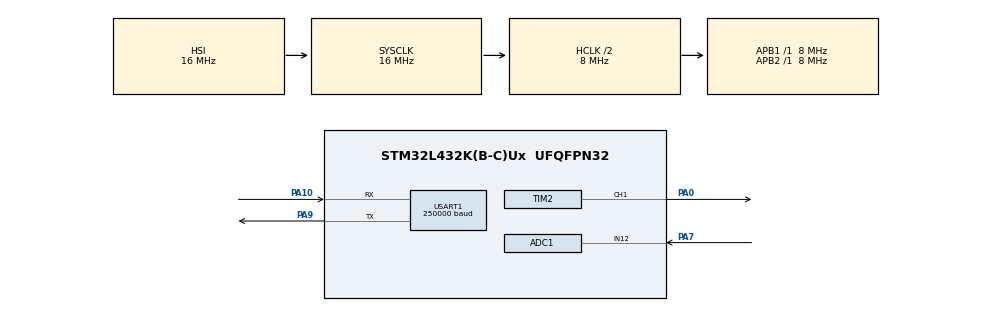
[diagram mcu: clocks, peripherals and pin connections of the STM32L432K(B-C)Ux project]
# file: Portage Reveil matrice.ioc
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ADC1.Channel-0\#ChannelRegularConversion=ADC_CHANNEL_12
ADC1.ContinuousConvMode=ENABLE
ADC1.NbrOfConversion=1
ADC1.NbrOfConversionFlag=1
ADC1.OffsetNumber-0\#ChannelRegularConversion=ADC_OFFSET_NONE
ADC1.Rank-0\#ChannelRegularConversion=1
ADC1.SamplingTime-0\#ChannelRegularConversion=ADC_SAMPLETIME_2CYCLES_5
ADC1.master=1
Dma.ADC1.1.Direction=DMA_PERIPH_TO_MEMORY
Dma.ADC1.1.Instance=DMA1_Channel1
Dma.ADC1.1.MemDataAlignment=DMA_MDATAALIGN_HALFWORD
Dma.ADC1.1.MemInc=DMA_MINC_ENABLE
Dma.ADC1.1.Mode=DMA_NORMAL
Dma.ADC1.1.PeriphDataAlignment=DMA_PDATAALIGN_HALFWORD
Dma.ADC1.1.PeriphInc=DMA_PINC_DISABLE
Dma.ADC1.1.Priority=DMA_PRIORITY_LOW
Dma.Request0=TIM2_CH1
Dma.Request1=ADC1
Dma.Request2=USART1_TX
Dma.TIM2_CH1.0.Direction=DMA_MEMORY_TO_PERIPH
Dma.TIM2_CH1.0.Instance=DMA1_Channel5
Dma.TIM2_CH1.0.MemDataAlignment=DMA_MDATAALIGN_BYTE
Dma.TIM2_CH1.0.MemInc=DMA_MINC_ENABLE
Dma.TIM2_CH1.0.Mode=DMA_CIRCULAR
Dma.TIM2_CH1.0.PeriphDataAlignment=DMA_PDATAALIGN_WORD
Dma.TIM2_CH1.0.PeriphInc=DMA_PINC_DISABLE
Dma.TIM2_CH1.0.Priority=DMA_PRIORITY_HIGH
Dma.USART1_TX.2.Direction=DMA_MEMORY_TO_PERIPH
Dma.USART1_TX.2.Instance=DMA1_Channel4
Dma.USART1_TX.2.MemDataAlignment=DMA_MDATAALIGN_BYTE
Dma.USART1_TX.2.MemInc=DMA_MINC_ENABLE
Dma.USART1_TX.2.Mode=DMA_NORMAL
Dma.USART1_TX.2.PeriphDataAlignment=DMA_PDATAALIGN_BYTE
Dma.USART1_TX.2.PeriphInc=DMA_PINC_DISABLE
Dma.USART1_TX.2.Priority=DMA_PRIORITY_VERY_HIGH
Mcu.Family=STM32L4
Mcu.Name=STM32L432K(B-C)Ux
Mcu.Package=UFQFPN32
NVIC.DMA1_Channel1_IRQn=true\:0\:0\:false\:false\:true\:false\:true\:true
NVIC.DMA1_Channel4_IRQn=true\:0\:0\:false\:false\:true\:false\:true\:true
NVIC.DMA1_Channel5_IRQn=true\:0\:0\:false\:false\:true\:false\:true\:true
NVIC.PriorityGroup=NVIC_PRIORITYGROUP_4
NVIC.USART1_IRQn=true\:0\:0\:false\:false\:true\:true\:true\:true
PA0.Signal=S_TIM2_CH1
PA10.Mode=Asynchronous
PA10.Signal=USART1_RX
PA13\ (JTMS-SWDIO).Mode=Serial_Wire
PA13\ (JTMS-SWDIO).Signal=SYS_JTMS-SWDIO
PA14\ (JTCK-SWCLK).Mode=Serial_Wire
PA14\ (JTCK-SWCLK).Signal=SYS_JTCK-SWCLK
PA7.Signal=ADCx_IN12
PA9.Mode=Asynchronous
PA9.Signal=USART1_TX
PC14-OSC32_IN\ (PC14).GPIO_Label=MCO
PC14-OSC32_IN\ (PC14).Mode=LSE-External-Clock-Source
PC14-OSC32_IN\ (PC14).Signal=RCC_OSC32_IN
ProjectManager.HeapSize=0x200
ProjectManager.StackSize=0x400
ProjectManager.TargetToolchain=STM32CubeIDE
RCC.ADCCLockSelection=RCC_ADCCLKSOURCE_SYSCLK
RCC.ADCFreq_Value=16000000
RCC.AHBCLKDivider=RCC_SYSCLK_DIV2
RCC.AHBFreq_Value=8000000
RCC.APB1Freq_Value=8000000
RCC.APB1TimFreq_Value=8000000
RCC.APB2Freq_Value=8000000
RCC.APB2TimFreq_Value=8000000
RCC.CortexFreq_Value=8000000
RCC.HCLKFreq_Value=8000000
RCC.HSE_VALUE=8000000
RCC.HSI48_VALUE=48000000
RCC.HSI_VALUE=16000000
RCC.LSE_VALUE=8000
RCC.MSICalibrationValue=0
RCC.MSIClockRange=RCC_MSIRANGE_7
RCC.MSI_VALUE=8000000
RCC.PLLSourceVirtual=RCC_PLLSOURCE_HSI
RCC.PREFETCH_ENABLE=0
RCC.SYSCLKFreq_VALUE=16000000
RCC.SYSCLKSource=RCC_SYSCLKSOURCE_HSI
RCC.USBFreq_Value=64000000
RCC.VCOOutputFreq_Value=128000000
SH.ADCx_IN12.0=ADC1_IN12,IN12-Single-Ended
SH.S_TIM2_CH1.0=TIM2_CH1,PWM Generation1 CH1
TIM2.Channel-PWM\ Generation1\ CH1=TIM_CHANNEL_1
TIM2.Period=10-1
USART1.BaudRate=250000
USART1.VirtualMode-Asynchronous=VM_ASYNC
VP_TIM2_VS_ClockSourceINT.Mode=Internal
board=custom

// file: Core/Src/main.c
/* USER CODE BEGIN Header */
/**
  ******************************************************************************
  * @file           : main.c
  * @brief          : Main program body
  ******************************************************************************
  * @attention
  *
  * Copyright (c) 2023 STMicroelectronics.
  * All rights reserved.
  *
  * This software is licensed under terms that can be found in the LICENSE file
  * in the root directory of this software component.
  * If no LICENSE file comes with this software, it is provided AS-IS.
  *
  ******************************************************************************
  */
/* USER CODE END Header */
#include "main.h"

/* USER CODE BEGIN Includes */
#include "ws2812.h"
/* USER CODE END Includes */

ADC_HandleTypeDef hadc1;
DMA_HandleTypeDef hdma_adc1;

TIM_HandleTypeDef htim2;
DMA_HandleTypeDef hdma_tim2_ch1;

UART_HandleTypeDef huart1;
DMA_HandleTypeDef hdma_usart1_tx;

void SystemClock_Config(void);
static void MX_GPIO_Init(void);
static void MX_DMA_Init(void);
static void MX_ADC1_Init(void);
static void MX_TIM2_Init(void);
static void MX_USART1_UART_Init(void);

/* USER CODE BEGIN 0 */

uint8_t angle = 0;
static uint8_t Heures_brt = 0;
static uint8_t Heures_U = 4;
static uint8_t Heures_D = 0;
static uint8_t Minutes_brt = 0;
static uint8_t Minutes_U = 7;
static uint8_t Minutes_D = 2;
uint8_t Cli = 0;

uint8_t interrupteur1_OLD = 0;
uint8_t interrupteur2_OLD = 0;
uint8_t interrupteur3_OLD = 0;
uint8_t interrupteur4_OLD = 0;

//static uint8_t Rx_data[19];

uint16_t step = 0;
uint8_t loop = 0;

/* USER CODE END 0 */

int main(void)
{

  /* MCU Configuration--------------------------------------------------------*/

  /* Reset of all peripherals, Initializes the Flash interface and the Systick. */
  HAL_Init();

  /* Configure the system clock */
  SystemClock_Config();

  /* Initialize all configured peripherals */
  MX_GPIO_Init();
  MX_DMA_Init();
  MX_ADC1_Init();
  MX_TIM2_Init();
  MX_USART1_UART_Init();
  /* USER CODE BEGIN 2 */

  ws2812_start();
  //HAL_UART_Receive_IT(&huart1, Rx_data, 19);

	uint8_t H =0;
	ImageData* pacManSprite;
	// Déclarez une instance de Canvas
	Canvas myCanvas;
	// Initialisez la structure Canvas
	myCanvas.numCols = NUM_COLS;
	myCanvas.numRows = NUM_ROWS;
	// Allouez de la mémoire pour les pixels
	myCanvas.pixels = malloc(sizeof(Pixel) * NUM_COLS * NUM_ROWS);
	// Utilisez memset pour initialiser le tableau à zéro
	memset(myCanvas.pixels, 0, sizeof(Pixel) * NUM_COLS * NUM_ROWS);

	// Vous pouvez maintenant utiliser myCanvas et les pixels initialisé

  /* USER CODE END 2 */

  /* Infinite loop */
  while (1)
  {

    /* USER CODE BEGIN 3 */

//	  HAL_ADC_PollForConversion(&hadc, HAL_MAX_DELAY);
//
//	  ReadADC = HAL_ADC_GetValue(&hadc);

	  for(uint8_t diag=1; diag<=23; diag++){
	  		  colorDiagonal(&myCanvas, HSVtoPixel((H + (diag* 255 / 23))%255 , MAX_LUX), diag);
	  	  }

	  	  drawRectangle(&myCanvas, 19, 5, 1, 1, (Pixel){0,0,0}, (Pixel){0,0,0});

	  	  displayBCD(&myCanvas, 8, 3, H>>4, 4);

	  	switch((loop/2)%98){
	  		  	  case 0 : pacManSprite = &Rick0; break;
	  		  	  case 1 : pacManSprite = &Rick1; break;
	  		  	  case 2 : pacManSprite = &Rick2; break;
	  		  	  case 3 : pacManSprite = &Rick3; break;
	  		  	  case 4 : pacManSprite = &Rick4; break;
	  		  	  case 5 : pacManSprite = &Rick5; break;
	  		  	  case 6 : pacManSprite = &Rick6; break;
	  		  	  case 7 : pacManSprite = &Rick7; break;
	  		  	  case 8 : pacManSprite = &Rick8; break;
	  		  	  case 9 : pacManSprite = &Rick9; break;
	  		  	  case 10 : pacManSprite = &Rick10; break;
	  		  	  case 11 : pacManSprite = &Rick11; break;
	  		  	  case 12 : pacManSprite = &Rick12; break;
	  		  	  case 13 : pacManSprite = &Rick13; break;
	  		  	case 14 : pacManSprite = &Rick14; break;
	  		  	case 15 : pacManSprite = &Rick15; break;
	  		  	case 16 : pacManSprite = &Rick16; break;
	  		  	case 17 : pacManSprite = &Rick17; break;
	  		  	case 18 : pacManSprite = &Rick18; break;
	  		  	case 19 : pacManSprite = &Rick19; break;
	  		  	case 20 : pacManSprite = &Rick20; break;
	  		  	case 21 : pacManSprite = &Rick21; break;
	  		  	case 22 : pacManSprite = &Rick22; break;
	  		  	case 23 : pacManSprite = &Rick23; break;
	  		  	case 24 : pacManSprite = &Rick24; break;
	  		  	case 25 : pacManSprite = &Rick25; break;
	  		  	case 26 : pacManSprite = &Rick26; break;
	  		  	case 27 : pacManSprite = &Rick27; break;
	  		  	case 28 : pacManSprite = &Rick28; break;
	  		  	case 29 : pacManSprite = &Rick29; break;
	  		  	case 30 : pacManSprite = &Rick30; break;
	  		  	case 31 : pacManSprite = &Rick31; break;
	  		  	case 32 : pacManSprite = &Rick32; break;
	  		  	case 33 : pacManSprite = &Rick33; break;
	  		  	case 34 : pacManSprite = &Rick34; break;
	  		  	case 35 : pacManSprite = &Rick35; break;
	  		  	case 36 : pacManSprite = &Rick36; break;
	  		  	case 37 : pacManSprite = &Rick37; break;
	  		  	case 38 : pacManSprite = &Rick38; break;
	  		  	case 39 : pacManSprite = &Rick39; break;
	  		  	case 40 : pacManSprite = &Rick40; break;
	  		  	case 41 : pacManSprite = &Rick41; break;
	  		  	case 42 : pacManSprite = &Rick42; break;
	  		  	case 43 : pacManSprite = &Rick43; break;
	  		  	case 44 : pacManSprite = &Rick44; break;
	  		  	case 45 : pacManSprite = &Rick45; break;
	  		  	case 46 : pacManSprite = &Rick46; break;
	  		  case 47	 : pacManSprite = &Rick47	; break;
	  		  case 48	 : pacManSprite = &Rick48	; break;
	  		  case 49	 : pacManSprite = &Rick49	; break;
	  		  case 50	 : pacManSprite = &Rick50	; break;
	  		  case 51	 : pacManSprite = &Rick51	; break;
	  		  case 52	 : pacManSprite = &Rick52	; break;
	  		  case 53	 : pacManSprite = &Rick53	; break;
	  		  case 54	 : pacManSprite = &Rick54	; break;
	  		  case 55	 : pacManSprite = &Rick55	; break;
	  		  case 56	 : pacManSprite = &Rick56	; break;
	  		  case 57	 : pacManSprite = &Rick57	; break;
	  		  case 58	 : pacManSprite = &Rick58	; break;
	  		  case 59	 : pacManSprite = &Rick59	; break;
	  		  case 60	 : pacManSprite = &Rick60	; break;
	  		  case 61	 : pacManSprite = &Rick61	; break;
	  		  case 62	 : pacManSprite = &Rick62	; break;
	  		  case 63	 : pacManSprite = &Rick63	; break;
	  		  case 64	 : pacManSprite = &Rick64	; break;
	  		  case 65	 : pacManSprite = &Rick65	; break;
	  		  case 66	 : pacManSprite = &Rick66	; break;
	  		  case 67	 : pacManSprite = &Rick67	; break;
	  		  case 68	 : pacManSprite = &Rick68	; break;
	  		  case 69	 : pacManSprite = &Rick69	; break;
	  		  case 70	 : pacManSprite = &Rick70	; break;
	  		  case 71	 : pacManSprite = &Rick71	; break;
	  		  case 72	 : pacManSprite = &Rick72	; break;
	  		  case 73	 : pacManSprite = &Rick73	; break;
	  		  case 74	 : pacManSprite = &Rick74	; break;
	  		  case 75	 : pacManSprite = &Rick75	; break;
	  		  case 76	 : pacManSprite = &Rick76	; break;
	  		  case 77	 : pacManSprite = &Rick77	; break;
	  		  case 78	 : pacManSprite = &Rick78	; break;
	  		  case 79	 : pacManSprite = &Rick79	; break;
	  		  case 80	 : pacManSprite = &Rick80	; break;
	  		  case 81	 : pacManSprite = &Rick81	; break;
	  		  case 82	 : pacManSprite = &Rick82	; break;
	  		  case 83	 : pacManSprite = &Rick83	; break;
	  		  case 84	 : pacManSprite = &Rick84	; break;
	  		  case 85	 : pacManSprite = &Rick85	; break;
	  		  case 86	 : pacManSprite = &Rick86	; break;
	  		  case 87	 : pacManSprite = &Rick87	; break;
	  		  case 88	 : pacManSprite = &Rick88	; break;
	  		  case 89	 : pacManSprite = &Rick89	; break;
	  		  case 90	 : pacManSprite = &Rick90	; break;
	  		  case 91	 : pacManSprite = &Rick91	; break;
	  		  case 92	 : pacManSprite = &Rick92	; break;
	  		  case 93	 : pacManSprite = &Rick93	; break;
	  		  case 94	 : pacManSprite = &Rick94	; break;
	  		  case 95	 : pacManSprite = &Rick95	; break;
	  		  case 96	 : pacManSprite = &Rick96	; break;
	  		  case 97	 : pacManSprite = &Rick97	; break;

	  	  }
	  	  drawImage(pacManSprite, 1, 1, &myCanvas);

	  	  sendCanvas(&myCanvas);

	  	  if (H >= 255){
	  		  H=0;
	  	  }
	  	  else{
	  		  H++;
	  	  }

	  	  if (loop <= 196)	++loop;
	  	  else loop = 0;

  }
  /* USER CODE END 3 */
}

void SystemClock_Config(void)
{
  RCC_OscInitTypeDef RCC_OscInitStruct = {0};
  RCC_ClkInitTypeDef RCC_ClkInitStruct = {0};

  /** Configure the main internal regulator output voltage
  */
  if (HAL_PWREx_ControlVoltageScaling(PWR_REGULATOR_VOLTAGE_SCALE1) != HAL_OK)
  {
    Error_Handler();
  }

  /** Initializes the RCC Oscillators according to the specified parameters
  * in the RCC_OscInitTypeDef structure.
  */
  RCC_OscInitStruct.OscillatorType = RCC_OSCILLATORTYPE_HSI;
  RCC_OscInitStruct.HSIState = RCC_HSI_ON;
  RCC_OscInitStruct.HSICalibrationValue = RCC_HSICALIBRATION_DEFAULT;
  RCC_OscInitStruct.PLL.PLLState = RCC_PLL_NONE;
  if (HAL_RCC_OscConfig(&RCC_OscInitStruct) != HAL_OK)
  {
    Error_Handler();
  }

  /** Initializes the CPU, AHB and APB buses clocks
  */
  RCC_ClkInitStruct.ClockType = RCC_CLOCKTYPE_HCLK|RCC_CLOCKTYPE_SYSCLK
                              |RCC_CLOCKTYPE_PCLK1|RCC_CLOCKTYPE_PCLK2;
  RCC_ClkInitStruct.SYSCLKSource = RCC_SYSCLKSOURCE_HSI;
  RCC_ClkInitStruct.AHBCLKDivider = RCC_SYSCLK_DIV2;
  RCC_ClkInitStruct.APB1CLKDivider = RCC_HCLK_DIV1;
  RCC_ClkInitStruct.APB2CLKDivider = RCC_HCLK_DIV1;

  if (HAL_RCC_ClockConfig(&RCC_ClkInitStruct, FLASH_LATENCY_0) != HAL_OK)
  {
    Error_Handler();
  }
}

static void MX_ADC1_Init(void)
{

  ADC_ChannelConfTypeDef sConfig = {0};

  /** Common config
  */
  hadc1.Instance = ADC1;
  hadc1.Init.ClockPrescaler = ADC_CLOCK_ASYNC_DIV1;
  hadc1.Init.Resolution = ADC_RESOLUTION_12B;
  hadc1.Init.DataAlign = ADC_DATAALIGN_RIGHT;
  hadc1.Init.ScanConvMode = ADC_SCAN_DISABLE;
  hadc1.Init.EOCSelection = ADC_EOC_SINGLE_CONV;
  hadc1.Init.LowPowerAutoWait = DISABLE;
  hadc1.Init.ContinuousConvMode = ENABLE;
  hadc1.Init.NbrOfConversion = 1;
  hadc1.Init.DiscontinuousConvMode = DISABLE;
  hadc1.Init.ExternalTrigConv = ADC_SOFTWARE_START;
  hadc1.Init.ExternalTrigConvEdge = ADC_EXTERNALTRIGCONVEDGE_NONE;
  hadc1.Init.DMAContinuousRequests = DISABLE;
  hadc1.Init.Overrun = ADC_OVR_DATA_PRESERVED;
  hadc1.Init.OversamplingMode = DISABLE;
  if (HAL_ADC_Init(&hadc1) != HAL_OK)
  {
    Error_Handler();
  }

  /** Configure Regular Channel
  */
  sConfig.Channel = ADC_CHANNEL_12;
  sConfig.Rank = ADC_REGULAR_RANK_1;
  sConfig.SamplingTime = ADC_SAMPLETIME_2CYCLES_5;
  sConfig.SingleDiff = ADC_SINGLE_ENDED;
  sConfig.OffsetNumber = ADC_OFFSET_NONE;
  sConfig.Offset = 0;
  if (HAL_ADC_ConfigChannel(&hadc1, &sConfig) != HAL_OK)
  {
    Error_Handler();
  }

}

static void MX_TIM2_Init(void)
{

  TIM_ClockConfigTypeDef sClockSourceConfig = {0};
  TIM_MasterConfigTypeDef sMasterConfig = {0};
  TIM_OC_InitTypeDef sConfigOC = {0};

  htim2.Instance = TIM2;
  htim2.Init.Prescaler = 0;
  htim2.Init.CounterMode = TIM_COUNTERMODE_UP;
  htim2.Init.Period = 10-1;
  htim2.Init.ClockDivision = TIM_CLOCKDIVISION_DIV1;
  htim2.Init.AutoReloadPreload = TIM_AUTORELOAD_PRELOAD_DISABLE;
  if (HAL_TIM_Base_Init(&htim2) != HAL_OK)
  {
    Error_Handler();
  }
  sClockSourceConfig.ClockSource = TIM_CLOCKSOURCE_INTERNAL;
  if (HAL_TIM_ConfigClockSource(&htim2, &sClockSourceConfig) != HAL_OK)
  {
    Error_Handler();
  }
  if (HAL_TIM_PWM_Init(&htim2) != HAL_OK)
  {
    Error_Handler();
  }
  sMasterConfig.MasterOutputTrigger = TIM_TRGO_RESET;
  sMasterConfig.MasterSlaveMode = TIM_MASTERSLAVEMODE_DISABLE;
  if (HAL_TIMEx_MasterConfigSynchronization(&htim2, &sMasterConfig) != HAL_OK)
  {
    Error_Handler();
  }
  sConfigOC.OCMode = TIM_OCMODE_PWM1;
  sConfigOC.Pulse = 0;
  sConfigOC.OCPolarity = TIM_OCPOLARITY_HIGH;
  sConfigOC.OCFastMode = TIM_OCFAST_DISABLE;
  if (HAL_TIM_PWM_ConfigChannel(&htim2, &sConfigOC, TIM_CHANNEL_1) != HAL_OK)
  {
    Error_Handler();
  }
  HAL_TIM_MspPostInit(&htim2);

}

static void MX_USART1_UART_Init(void)
{

  huart1.Instance = USART1;
  huart1.Init.BaudRate = 250000;
  huart1.Init.WordLength = UART_WORDLENGTH_8B;
  huart1.Init.StopBits = UART_STOPBITS_1;
  huart1.Init.Parity = UART_PARITY_NONE;
  huart1.Init.Mode = UART_MODE_TX_RX;
  huart1.Init.HwFlowCtl = UART_HWCONTROL_NONE;
  huart1.Init.OverSampling = UART_OVERSAMPLING_16;
  huart1.Init.OneBitSampling = UART_ONE_BIT_SAMPLE_DISABLE;
  huart1.AdvancedInit.AdvFeatureInit = UART_ADVFEATURE_NO_INIT;
  if (HAL_UART_Init(&huart1) != HAL_OK)
  {
    Error_Handler();
  }

}

static void MX_DMA_Init(void)
{

  /* DMA controller clock enable */
  __HAL_RCC_DMA1_CLK_ENABLE();

  /* DMA interrupt init */
  /* DMA1_Channel1_IRQn interrupt configuration */
  HAL_NVIC_SetPriority(DMA1_Channel1_IRQn, 0, 0);
  HAL_NVIC_EnableIRQ(DMA1_Channel1_IRQn);
  /* DMA1_Channel4_IRQn interrupt configuration */
  HAL_NVIC_SetPriority(DMA1_Channel4_IRQn, 0, 0);
  HAL_NVIC_EnableIRQ(DMA1_Channel4_IRQn);
  /* DMA1_Channel5_IRQn interrupt configuration */
  HAL_NVIC_SetPriority(DMA1_Channel5_IRQn, 0, 0);
  HAL_NVIC_EnableIRQ(DMA1_Channel5_IRQn);

}

static void MX_GPIO_Init(void)
{

  /* GPIO Ports Clock Enable */
  __HAL_RCC_GPIOC_CLK_ENABLE();
  __HAL_RCC_GPIOA_CLK_ENABLE();

}

void Error_Handler(void)
{
  __disable_irq();
  while (1)
  {
  }
}
